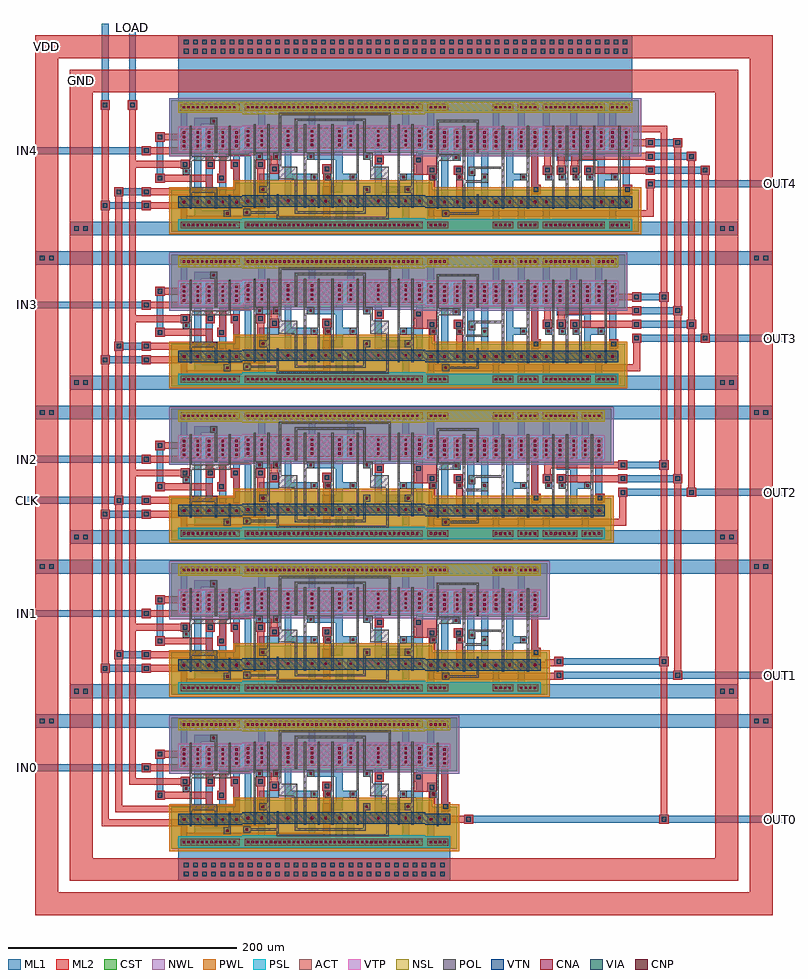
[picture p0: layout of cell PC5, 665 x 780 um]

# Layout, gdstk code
import gdstk
lib = gdstk.Library(unit=1e-6, precision=1e-09)
def R(c, l, rs):  # rectangles x0, y0, x1, y1
    for r in rs: c.add(gdstk.rectangle(r[:2], r[2:], *l))
def A(c, l, x, y, w, h, nx, ny, dx, dy):  # array of equal rectangles
    R(c, l, [(x+i*dx, y+j*dy, x+i*dx+w, y+j*dy+h) for i in range(nx) for j in range(ny)])
NWL = (1, 0)
PWL = (2, 0)
CST = (3, 0)
ACT = (4, 0)
VTN = (5, 0)
VTP = (6, 0)
POL = (7, 0)
NSL = (8, 0)
PSL = (9, 0)
CNA = (10, 0)
CNP = (11, 0)
ML1 = (12, 0)
VIA = (13, 0)
ML2 = (14, 0)

mux2 = lib.new_cell('mux2')
R(mux2, NWL, [(-8,69,64,120)])
R(mux2, PWL, [(-8,1,64,42)])
R(mux2, CST, [(-6,3,62,40), (-6,71,62,118)])
R(mux2, ACT, [(2,6,54,12), (2,26,20,32), (24,26,54,32), (2,75,20,93), (24,75,54,93), (2,109,54,115)])
R(mux2, VTN, [(0,24,56,34)])
R(mux2, VTP, [(0,73,56,95)])
R(mux2, POL, [(40,16,46,22), (44,22,46,24), (10,23,12,96), (32,23,34,34), (44,24,46,35), (32,34,34,37), (12,37,34,42), (4,53,10,59), (12,65,46,69), (44,69,46,73), (32,72,34,95), (44,73,46,96), (32,95,34,97), (28,97,34,103)])
R(mux2, NSL, [(0,24,56,34), (0,107,56,117)])
R(mux2, PSL, [(0,4,56,14), (0,73,56,95)])
A(mux2, CNA, 4, 8, 2, 2, 12, 2, 4, 103)
A(mux2, CNA, 26, 28, 2, 2, 3, 2, 12, 49)
A(mux2, CNA, 4, 77, 2, 2, 1, 4, 0, 4)
A(mux2, CNA, 16, 77, 2, 2, 1, 4, 0, 4)
A(mux2, CNA, 26, 81, 2, 2, 3, 3, 12, 4)
R(mux2, CNA, [(4,28,6,30), (16,28,18,30)])
R(mux2, CNP, [(42,18,44,20), (6,55,8,57), (30,99,32,101)])
A(mux2, ML1, 24, 26, 6, 67, 3, 1, 12, 0)
A(mux2, ML1, 2, 58, 8, 8, 3, 1, 22, 0)
R(mux2, ML1, [(0,0,56,12), (2,12,8,32), (14,16,40,22), (40,16,46,22), (14,22,20,26), (14,26,20,93), (34,46,42,54), (4,53,10,59), (2,75,8,109), (14,93,20,97), (14,97,28,103), (28,97,34,103), (0,109,56,121)])
A(mux2, VIA, 4, 60, 4, 4, 3, 1, 22, 0)
R(mux2, VIA, [(36,48,40,52)])
A(mux2, ML2, 2, 58, 8, 8, 3, 1, 22, 0)
R(mux2, ML2, [(34,46,42,54)])
mux2.add(gdstk.Label('Vdd', (7,116), layer=12, texttype=0))
mux2.add(gdstk.Label('Gnd', (7,2), layer=12, texttype=0))
mux2.add(gdstk.Label('IA', (25,59), layer=12, texttype=0))
mux2.add(gdstk.Label('O', (35,47), layer=12, texttype=0))
mux2.add(gdstk.Label('IB', (47,59), layer=12, texttype=0))
mux2.add(gdstk.Label('S', (3,59), layer=12, texttype=0))

via12 = lib.new_cell('VIA12')
R(via12, ML1, [(-4,-4,4,4)])
R(via12, VIA, [(-2,-2,2,2)])
R(via12, ML2, [(-4,-4,4,4)])

xor2 = lib.new_cell('xor2')
R(xor2, NWL, [(-9,69,59,120), (53,69,81,120), (75,69,108,120)])
R(xor2, PWL, [(-9,1,59,42), (53,1,81,42), (75,1,108,42)])
R(xor2, CST, [(-7,3,57,40), (55,3,79,40), (77,3,106,40), (-7,71,57,118), (55,71,79,118), (77,71,106,118)])
R(xor2, ACT, [(1,6,19,12), (58,6,76,12), (80,6,98,12), (1,26,19,32), (24,26,54,32), (58,26,76,32), (80,26,98,32), (1,75,19,93), (24,75,54,93), (58,75,76,93), (80,75,98,93), (1,109,19,115), (58,109,76,115), (80,109,98,115)])
R(xor2, VTN, [(-1,24,100,34)])
R(xor2, VTP, [(-1,73,100,95)])
R(xor2, POL, [(14,16,20,22), (20,18,45,20), (44,18,46,24), (9,23,11,97), (32,23,34,96), (66,23,68,96), (88,23,90,96), (44,24,46,36), (34,46,54,48), (3,48,9,54), (26,48,32,54), (48,48,54,54), (82,48,88,54), (37,52,43,58), (37,58,67,60), (11,65,23,71), (23,65,29,71), (44,72,46,95), (44,95,46,99), (9,97,11,99), (9,99,46,101)])
R(xor2, NSL, [(-1,24,56,34), (56,24,78,34), (78,24,100,34), (-1,107,56,117), (56,107,78,117), (78,107,100,117)])
R(xor2, PSL, [(-1,4,56,14), (56,4,78,14), (78,4,100,14), (-1,73,56,95), (56,73,78,95), (78,73,100,95)])
A(xor2, CNA, 3, 8, 2, 2, 4, 2, 4, 103)
A(xor2, CNA, 60, 8, 2, 2, 4, 2, 4, 103)
A(xor2, CNA, 82, 8, 2, 2, 4, 2, 4, 103)
A(xor2, CNA, 26, 28, 2, 2, 3, 2, 12, 49)
A(xor2, CNA, 3, 77, 2, 2, 1, 4, 0, 4)
A(xor2, CNA, 15, 77, 2, 2, 1, 4, 0, 4)
A(xor2, CNA, 60, 77, 2, 2, 1, 4, 0, 4)
A(xor2, CNA, 72, 77, 2, 2, 1, 4, 0, 4)
A(xor2, CNA, 82, 77, 2, 2, 1, 4, 0, 4)
A(xor2, CNA, 94, 77, 2, 2, 1, 4, 0, 4)
A(xor2, CNA, 26, 81, 2, 2, 3, 3, 12, 4)
R(xor2, CNA, [(3,28,5,30), (15,28,17,30), (60,28,62,30), (72,28,74,30), (82,28,84,30), (94,28,96,30)])
R(xor2, CNP, [(16,18,18,20), (5,50,7,52), (28,50,30,52), (50,50,52,52), (84,50,86,52), (39,54,41,56), (25,67,27,69)])
A(xor2, ML1, 48, 26, 6, 67, 3, 1, 22, 0)
R(xor2, ML1, [(-1,0,56,12), (56,0,78,12), (78,0,100,12), (1,12,7,32), (58,12,64,32), (80,12,86,32), (13,16,19,26), (14,16,20,22), (13,26,19,93), (19,26,30,32), (36,26,42,93), (92,36,100,44), (3,48,9,54), (26,48,32,54), (48,48,54,54), (76,48,82,54), (82,48,88,54), (37,52,43,58), (1,53,9,61), (24,53,32,61), (23,65,29,71), (24,65,30,93), (1,75,7,109), (58,75,64,109), (80,75,86,109), (-1,109,56,121), (56,109,78,121), (78,109,100,121)])
R(xor2, VIA, [(94,38,98,42), (3,55,7,59), (26,55,30,59)])
R(xor2, ML2, [(92,36,100,44), (1,53,9,61), (24,53,32,61)])
xor2.add(gdstk.Label('IA', (4,53), layer=12, texttype=0))
xor2.add(gdstk.Label('O', (93,51), layer=12, texttype=0))
xor2.add(gdstk.Label('IB', (26,53), layer=12, texttype=0))
xor2.add(gdstk.Label('Gnd', (7,2), layer=12, texttype=0))
xor2.add(gdstk.Label('Vdd', (7,116), layer=12, texttype=0))

and2 = lib.new_cell('and2')
R(and2, NWL, [(-8,69,37,120), (31,69,64,120)])
R(and2, PWL, [(-8,1,37,42), (31,1,64,42)])
R(and2, CST, [(-6,3,35,40), (33,3,62,40), (-6,71,35,118), (33,71,62,118)])
R(and2, ACT, [(2,6,32,12), (36,6,54,12), (2,26,32,32), (36,26,54,32), (2,75,32,93), (36,75,54,93), (2,109,32,115), (36,109,54,115)])
R(and2, VTN, [(0,24,56,34)])
R(and2, VTP, [(0,73,56,95)])
R(and2, POL, [(10,23,12,96), (22,23,24,96), (44,23,46,96), (4,48,10,54), (16,48,22,54), (38,48,44,54)])
R(and2, NSL, [(0,24,34,34), (34,24,56,34), (0,107,34,117), (34,107,56,117)])
R(and2, PSL, [(0,4,34,14), (34,4,56,14), (0,73,34,95), (34,73,56,95)])
A(and2, CNA, 4, 8, 2, 2, 7, 2, 4, 103)
A(and2, CNA, 38, 8, 2, 2, 4, 2, 4, 103)
A(and2, CNA, 4, 77, 2, 2, 3, 4, 12, 4)
A(and2, CNA, 38, 77, 2, 2, 1, 4, 0, 4)
A(and2, CNA, 50, 77, 2, 2, 1, 4, 0, 4)
R(and2, CNA, [(4,28,6,30), (28,28,30,30), (38,28,40,30), (50,28,52,30)])
R(and2, CNP, [(6,50,8,52), (18,50,20,52), (40,50,42,52)])
R(and2, ML1, [(0,0,34,12), (34,0,56,12), (2,12,8,32), (36,12,42,32), (26,26,32,71), (48,26,54,93), (48,36,56,44), (4,48,10,54), (16,48,22,54), (32,48,38,54), (38,48,44,54), (2,53,10,61), (14,53,22,61), (14,65,26,71), (14,71,20,93), (2,75,8,109), (26,75,32,109), (36,75,42,109), (0,109,34,121), (34,109,56,121)])
R(and2, VIA, [(50,38,54,42), (4,55,8,59), (16,55,20,59)])
R(and2, ML2, [(48,36,56,44), (2,53,10,61), (14,53,22,61)])
and2.add(gdstk.Label('Vdd', (7,116), layer=12, texttype=0))
and2.add(gdstk.Label('Vdd', (41,116), layer=12, texttype=0))
and2.add(gdstk.Label('IA', (5,53), layer=12, texttype=0))
and2.add(gdstk.Label('IB', (17,53), layer=12, texttype=0))
and2.add(gdstk.Label('Gnd', (7,2), layer=12, texttype=0))
and2.add(gdstk.Label('O', (49,51), layer=12, texttype=0))

and4 = lib.new_cell('and4')
R(and4, NWL, [(-8,69,61,120), (55,69,88,120)])
R(and4, PWL, [(-8,1,61,42), (55,1,88,42)])
R(and4, CST, [(-6,3,59,40), (57,3,86,40), (-6,71,59,118), (57,71,86,118)])
R(and4, ACT, [(2,6,56,12), (60,6,78,12), (2,26,56,32), (60,26,78,32), (2,75,56,93), (60,75,78,93), (2,109,56,115), (60,109,78,115)])
R(and4, VTN, [(0,24,80,34)])
R(and4, VTP, [(0,73,80,95)])
A(and4, POL, 10, 23, 2, 73, 4, 1, 12, 0)
A(and4, POL, 4, 48, 6, 6, 4, 1, 12, 0)
R(and4, POL, [(68,23,70,96), (62,48,68,54)])
R(and4, NSL, [(0,24,58,34), (58,24,80,34), (0,107,58,117), (58,107,80,117)])
R(and4, PSL, [(0,4,58,14), (58,4,80,14), (0,73,58,95), (58,73,80,95)])
A(and4, CNA, 4, 8, 2, 2, 13, 2, 4, 103)
A(and4, CNA, 62, 8, 2, 2, 4, 2, 4, 103)
A(and4, CNA, 4, 77, 2, 2, 5, 4, 12, 4)
A(and4, CNA, 62, 77, 2, 2, 1, 4, 0, 4)
A(and4, CNA, 74, 77, 2, 2, 1, 4, 0, 4)
R(and4, CNA, [(4,28,6,30), (52,28,54,30), (62,28,64,30), (74,28,76,30)])
A(and4, CNP, 6, 50, 2, 2, 4, 1, 12, 0)
R(and4, CNP, [(64,50,66,52)])
A(and4, ML1, 4, 48, 6, 6, 4, 1, 12, 0)
A(and4, ML1, 2, 53, 8, 8, 4, 1, 12, 0)
A(and4, ML1, 2, 75, 6, 34, 3, 1, 24, 0)
R(and4, ML1, [(0,0,58,12), (58,0,80,12), (2,12,8,32), (60,12,66,32), (50,26,56,71), (72,26,78,93), (72,36,80,44), (56,48,62,54), (62,48,68,54), (14,65,50,71), (14,71,20,93), (38,71,44,93), (60,75,66,109), (0,109,58,121), (58,109,80,121)])
A(and4, VIA, 4, 55, 4, 4, 4, 1, 12, 0)
R(and4, VIA, [(74,38,78,42)])
A(and4, ML2, 2, 53, 8, 8, 4, 1, 12, 0)
R(and4, ML2, [(72,36,80,44)])
and4.add(gdstk.Label('Vdd', (7,116), layer=12, texttype=0))
and4.add(gdstk.Label('O', (73,51), layer=12, texttype=0))
and4.add(gdstk.Label('IC', (29,53), layer=12, texttype=0))
and4.add(gdstk.Label('Gnd', (7,2), layer=12, texttype=0))
and4.add(gdstk.Label('IB', (17,53), layer=12, texttype=0))
and4.add(gdstk.Label('IA', (5,53), layer=12, texttype=0))
and4.add(gdstk.Label('ID', (40,53), layer=12, texttype=0))

dff_r = lib.new_cell('dff_r')
R(dff_r, NWL, [(-8,70,168,120)])
R(dff_r, PWL, [(-8,1,168,48)])
R(dff_r, CST, [(-6,3,166,46), (-6,72,166,118)])
R(dff_r, ACT, [(2,6,158,12), (2,27,88,33), (92,27,158,33), (2,76,88,94), (92,76,158,94), (2,109,158,115)])
R(dff_r, VTN, [(0,25,160,35)])
R(dff_r, VTP, [(0,74,160,96)])
A(dff_r, POL, 54, 24, 2, 73, 3, 1, 12, 0)
R(dff_r, POL, [(30,14,32,21), (32,14,126,16), (126,14,128,25), (1,17,7,23), (7,19,30,21), (46,19,48,49), (48,19,106,21), (106,19,108,25), (30,21,32,36), (10,24,12,97), (22,24,24,97), (100,24,102,97), (136,24,138,97), (148,24,150,97), (106,25,108,37), (126,25,128,49), (15,37,21,43), (21,37,22,43), (106,37,112,43), (142,37,148,43), (60,48,66,54), (72,48,78,54), (94,48,100,54), (138,48,144,54), (32,49,48,60), (112,49,128,60), (32,60,34,105), (112,60,114,72), (12,66,18,72), (27,66,33,72), (55,66,57,72), (57,66,63,72), (106,66,112,72), (106,72,108,96), (46,73,48,102), (128,73,130,107), (106,96,108,102), (48,100,106,102), (32,105,128,107)])
R(dff_r, NSL, [(0,25,160,35), (0,106,160,117)])
R(dff_r, PSL, [(0,4,160,15), (0,74,160,96)])
A(dff_r, CNA, 4, 8, 2, 2, 38, 2, 4, 103)
A(dff_r, CNA, 60, 29, 2, 2, 3, 1, 12, 0)
A(dff_r, CNA, 94, 29, 2, 2, 3, 2, 24, 49)
A(dff_r, CNA, 4, 78, 2, 2, 1, 4, 0, 4)
A(dff_r, CNA, 16, 78, 2, 2, 1, 4, 0, 4)
A(dff_r, CNA, 39, 78, 2, 2, 1, 4, 0, 4)
A(dff_r, CNA, 60, 78, 2, 2, 1, 4, 0, 4)
A(dff_r, CNA, 84, 78, 2, 2, 1, 4, 0, 4)
A(dff_r, CNA, 154, 78, 2, 2, 1, 4, 0, 4)
A(dff_r, CNA, 94, 82, 2, 2, 3, 3, 24, 4)
R(dff_r, CNA, [(4,29,6,31), (16,29,18,31), (39,29,41,31), (154,29,156,31)])
R(dff_r, CNP, [(3,19,5,21), (17,39,19,41), (108,39,110,41), (144,39,146,41), (62,50,64,52), (74,50,76,52), (96,50,98,52), (140,50,142,52), (14,68,16,70), (29,68,31,70), (59,68,61,70), (108,68,110,70)])
R(dff_r, ML1, [(0,0,160,12), (58,6,64,33), (82,6,88,33), (92,6,98,33), (140,6,146,33), (14,12,20,33), (1,17,7,23), (2,17,8,27), (2,27,8,33), (37,27,43,94), (70,27,76,37), (116,27,122,94), (152,27,158,94), (2,33,8,94), (15,37,21,43), (70,37,82,43), (82,37,88,72), (106,37,112,43), (122,37,142,43), (142,37,148,43), (15,43,21,48), (15,48,32,54), (42,48,60,54), (60,48,66,54), (72,48,78,54), (88,48,94,54), (94,48,100,54), (138,48,144,54), (144,48,152,54), (24,54,32,62), (70,54,78,62), (12,58,20,66), (116,62,124,70), (150,62,158,70), (12,66,18,72), (18,66,27,72), (27,66,33,72), (57,66,63,72), (63,66,82,72), (106,66,112,72), (82,72,88,94), (14,76,20,82), (14,76,20,115), (58,76,64,115), (92,76,98,115), (140,76,146,115), (0,109,160,121)])
R(dff_r, VIA, [(26,56,30,60), (72,56,76,60), (14,60,18,64), (118,64,122,68), (152,64,156,68)])
R(dff_r, ML2, [(24,54,32,62), (70,54,78,62), (12,58,20,66), (116,62,124,70), (150,62,158,70)])
dff_r.add(gdstk.Label('R', (71,55), layer=12, texttype=0))
dff_r.add(gdstk.Label('D', (25,55), layer=12, texttype=0))
dff_r.add(gdstk.Label('CK', (13,59), layer=12, texttype=0))
dff_r.add(gdstk.Label('Q', (155,58), layer=12, texttype=0))
dff_r.add(gdstk.Label('QB', (117,58), layer=12, texttype=0))
dff_r.add(gdstk.Label('Vdd', (3,116), layer=12, texttype=0))
dff_r.add(gdstk.Label('Gnd', (3,1), layer=12, texttype=0))

invv1 = lib.new_cell('invv1')
R(invv1, NWL, [(-8,69,30,120)])
R(invv1, PWL, [(-8,1,30,42)])
R(invv1, CST, [(-6,3,28,40), (-6,71,28,118)])
R(invv1, ACT, [(2,6,20,12), (2,26,20,32), (2,75,20,93), (2,109,20,115)])
R(invv1, VTN, [(0,24,22,34)])
R(invv1, VTP, [(0,73,22,95)])
R(invv1, POL, [(10,23,12,96), (4,48,10,54)])
R(invv1, NSL, [(0,24,22,34), (0,107,22,117)])
R(invv1, PSL, [(0,4,22,14), (0,73,22,95)])
A(invv1, CNA, 4, 8, 2, 2, 4, 2, 4, 103)
A(invv1, CNA, 4, 77, 2, 2, 1, 4, 0, 4)
A(invv1, CNA, 16, 77, 2, 2, 1, 4, 0, 4)
R(invv1, CNA, [(4,28,6,30), (16,28,18,30)])
R(invv1, CNP, [(6,50,8,52)])
R(invv1, ML1, [(0,0,22,12), (2,12,8,32), (14,26,20,93), (14,36,22,44), (4,48,10,54), (2,53,10,61), (2,75,8,109), (0,109,22,121)])
R(invv1, VIA, [(16,38,20,42), (4,55,8,59)])
R(invv1, ML2, [(14,36,22,44), (2,53,10,61)])
invv1.add(gdstk.Label('Vdd', (7,116), layer=12, texttype=0))
invv1.add(gdstk.Label('I', (5,53), layer=12, texttype=0))
invv1.add(gdstk.Label('O', (15,51), layer=12, texttype=0))
invv1.add(gdstk.Label('Gnd', (7,2), layer=12, texttype=0))

and3 = lib.new_cell('and3')
R(and3, NWL, [(-8,69,49,120), (43,69,76,120)])
R(and3, PWL, [(-8,1,49,42), (43,1,76,42)])
R(and3, CST, [(-6,3,47,40), (45,3,74,40), (-6,71,47,118), (45,71,74,118)])
R(and3, ACT, [(2,6,44,12), (48,6,66,12), (2,26,44,32), (48,26,66,32), (2,75,44,93), (48,75,66,93), (2,109,44,115), (48,109,66,115)])
R(and3, VTN, [(0,24,68,34)])
R(and3, VTP, [(0,73,68,95)])
A(and3, POL, 10, 23, 2, 73, 3, 1, 12, 0)
A(and3, POL, 4, 48, 6, 6, 3, 1, 12, 0)
R(and3, POL, [(56,23,58,96), (50,48,56,54)])
R(and3, NSL, [(0,24,46,34), (46,24,68,34), (0,107,46,117), (46,107,68,117)])
R(and3, PSL, [(0,4,46,14), (46,4,68,14), (0,73,46,95), (46,73,68,95)])
A(and3, CNA, 4, 8, 2, 2, 10, 2, 4, 103)
A(and3, CNA, 50, 8, 2, 2, 4, 2, 4, 103)
A(and3, CNA, 4, 77, 2, 2, 4, 4, 12, 4)
A(and3, CNA, 50, 77, 2, 2, 1, 4, 0, 4)
A(and3, CNA, 62, 77, 2, 2, 1, 4, 0, 4)
R(and3, CNA, [(4,28,6,30), (40,28,42,30), (50,28,52,30), (62,28,64,30)])
A(and3, CNP, 6, 50, 2, 2, 3, 1, 12, 0)
R(and3, CNP, [(52,50,54,52)])
A(and3, ML1, 4, 48, 6, 6, 3, 1, 12, 0)
A(and3, ML1, 2, 53, 8, 8, 3, 1, 12, 0)
R(and3, ML1, [(0,0,46,12), (46,0,68,12), (2,12,8,32), (48,12,54,32), (38,26,44,71), (60,26,66,93), (60,36,68,44), (44,48,50,54), (50,48,56,54), (14,65,38,71), (14,71,20,93), (38,71,44,93), (2,75,8,109), (26,75,32,109), (48,75,54,109), (0,109,46,121), (46,109,68,121)])
A(and3, VIA, 4, 55, 4, 4, 3, 1, 12, 0)
R(and3, VIA, [(62,38,66,42)])
A(and3, ML2, 2, 53, 8, 8, 3, 1, 12, 0)
R(and3, ML2, [(60,36,68,44)])
and3.add(gdstk.Label('IA', (5,53), layer=12, texttype=0))
and3.add(gdstk.Label('IB', (17,53), layer=12, texttype=0))
and3.add(gdstk.Label('Gnd', (7,2), layer=12, texttype=0))
and3.add(gdstk.Label('IC', (29,53), layer=12, texttype=0))
and3.add(gdstk.Label('O', (61,51), layer=12, texttype=0))
and3.add(gdstk.Label('Vdd', (7,116), layer=12, texttype=0))

pc5 = lib.new_cell('PC5')
A(pc5, ML1, -125, 109, 125, 12, 1, 4, 0, 135)
A(pc5, ML1, -95, 135, 95, 12, 1, 4, 0, 135)
R(pc5, ML1, [(0,-25,238,12), (238,109,520,121), (317,135,490,147), (317,244,520,256), (373,270,490,282), (373,379,520,391), (385,405,490,417), (385,514,520,526), (397,540,490,552), (0,649,397,715)])
A(pc5, ML2, 206, 53, 20, 17, 1, 5, 0, 135)
pc5.add(gdstk.FlexPath([(425,29),(527,29)], 6, ends="extended", simple_path=True, layer=12, datatype=0))  # ML1
pc5.add(gdstk.FlexPath([(437,155),(527,155)], 6, ends="extended", simple_path=True, layer=12, datatype=0))  # ML1
pc5.add(gdstk.FlexPath([(-64,654),(-64,722)], 6, ends="extended", simple_path=True, layer=12, datatype=0))  # ML1
pc5.add(gdstk.FlexPath([(-28,614),(-132,614)], 6, ends="extended", simple_path=True, layer=12, datatype=0))  # ML1
pc5.add(gdstk.FlexPath([(-52,173),(-28,173)], 6, ends="extended", simple_path=True, layer=12, datatype=0))  # ML1
pc5.add(gdstk.FlexPath([(-28,296),(-64,296)], 6, ends="extended", simple_path=True, layer=12, datatype=0))  # ML1
pc5.add(gdstk.FlexPath([(-52,443),(-28,443)], 6, ends="extended", simple_path=True, layer=12, datatype=0))  # ML1
pc5.add(gdstk.FlexPath([(-28,566),(-64,566)], 6, ends="extended", simple_path=True, layer=12, datatype=0))  # ML1
pc5.add(gdstk.FlexPath([(-52,578),(-28,578)], 6, ends="extended", simple_path=True, layer=12, datatype=0))  # ML1
pc5.add(gdstk.FlexPath([(413,609),(449,609)], 6, ends="extended", simple_path=True, layer=12, datatype=0))  # ML1
pc5.add(gdstk.FlexPath([(413,597),(461,597)], 6, ends="extended", simple_path=True, layer=12, datatype=0))  # ML1
pc5.add(gdstk.FlexPath([(401,450),(461,450)], 6, ends="extended", simple_path=True, layer=12, datatype=0))  # ML1
pc5.add(gdstk.FlexPath([(389,315),(449,315)], 6, ends="extended", simple_path=True, layer=12, datatype=0))  # ML1
pc5.add(gdstk.FlexPath([(389,327),(437,327)], 6, ends="extended", simple_path=True, layer=12, datatype=0))  # ML1
pc5.add(gdstk.FlexPath([(389,339),(425,339)], 6, ends="extended", simple_path=True, layer=12, datatype=0))  # ML1
pc5.add(gdstk.FlexPath([(333,155),(437,155)], 6, ends="extended", simple_path=True, layer=12, datatype=0))  # ML1
pc5.add(gdstk.FlexPath([(333,167),(425,167)], 6, ends="extended", simple_path=True, layer=12, datatype=0))  # ML1
pc5.add(gdstk.FlexPath([(254,29),(425,29)], 6, ends="extended", simple_path=True, layer=12, datatype=0))  # ML1
pc5.add(gdstk.FlexPath([(-16,86),(-16,50)], 6, ends="extended", simple_path=True, layer=12, datatype=0))  # ML1
pc5.add(gdstk.FlexPath([(-16,356),(-16,320)], 6, ends="extended", simple_path=True, layer=12, datatype=0))  # ML1
pc5.add(gdstk.FlexPath([(-16,491),(-16,455)], 6, ends="extended", simple_path=True, layer=12, datatype=0))  # ML1
pc5.add(gdstk.FlexPath([(-16,626),(-16,590)], 6, ends="extended", simple_path=True, layer=12, datatype=0))  # ML1
pc5.add(gdstk.FlexPath([(-16,221),(-16,185)], 6, ends="extended", simple_path=True, layer=12, datatype=0))  # ML1
pc5.add(gdstk.FlexPath([(401,486),(425,486)], 6, ends="extended", simple_path=True, layer=12, datatype=0))  # ML1
pc5.add(gdstk.FlexPath([(401,462),(449,462)], 6, ends="extended", simple_path=True, layer=12, datatype=0))  # ML1
pc5.add(gdstk.FlexPath([(401,474),(437,474)], 6, ends="extended", simple_path=True, layer=12, datatype=0))  # ML1
pc5.add(gdstk.FlexPath([(413,621),(437,621)], 6, ends="extended", simple_path=True, layer=12, datatype=0))  # ML1
pc5.add(gdstk.FlexPath([(-28,431),(-64,431)], 6, ends="extended", simple_path=True, layer=12, datatype=0))  # ML1
pc5.add(gdstk.FlexPath([(-52,308),(-28,308)], 6, ends="extended", simple_path=True, layer=12, datatype=0))  # ML1
pc5.add(gdstk.FlexPath([(-28,161),(-64,161)], 6, ends="extended", simple_path=True, layer=12, datatype=0))  # ML1
pc5.add(gdstk.FlexPath([(-52,308),(-132,308)], 6, ends="extended", simple_path=True, layer=12, datatype=0))  # ML1
pc5.add(gdstk.FlexPath([(-28,479),(-132,479)], 6, ends="extended", simple_path=True, layer=12, datatype=0))  # ML1
pc5.add(gdstk.FlexPath([(-28,344),(-132,344)], 6, ends="extended", simple_path=True, layer=12, datatype=0))  # ML1
pc5.add(gdstk.FlexPath([(-28,209),(-132,209)], 6, ends="extended", simple_path=True, layer=12, datatype=0))  # ML1
pc5.add(gdstk.FlexPath([(-28,74),(-132,74)], 6, ends="extended", simple_path=True, layer=12, datatype=0))  # ML1
pc5.add(gdstk.FlexPath([(-40,654),(-40,722)], 6, ends="extended", simple_path=True, layer=12, datatype=0))  # ML1
pc5.add(gdstk.FlexPath([(413,585),(527,585)], 6, ends="extended", simple_path=True, layer=12, datatype=0))  # ML1
pc5.add(gdstk.FlexPath([(461,450),(527,450)], 6, ends="extended", simple_path=True, layer=12, datatype=0))  # ML1
pc5.add(gdstk.FlexPath([(449,315),(527,315)], 6, ends="extended", simple_path=True, layer=12, datatype=0))  # ML1
pc5.add(gdstk.FlexPath([(-64,654),(-64,566)], 6, ends="extended", simple_path=True, layer=14, datatype=0))  # ML2
pc5.add(gdstk.FlexPath([(-85,675),(-85,-15),(480,-15),(480,675),(-65,675)], 20, ends="extended", simple_path=True, layer=14, datatype=0))  # ML2
pc5.add(gdstk.FlexPath([(-52,578),(-52,38)], 6, ends="extended", simple_path=True, layer=14, datatype=0))  # ML2
pc5.add(gdstk.FlexPath([(-20,38),(-52,38)], 6, ends="extended", simple_path=True, layer=14, datatype=0))  # ML2
pc5.add(gdstk.FlexPath([(-20,62),(-40,62)], 6, ends="extended", simple_path=True, layer=14, datatype=0))  # ML2
pc5.add(gdstk.FlexPath([(-20,161),(-28,161)], 6, ends="extended", simple_path=True, layer=14, datatype=0))  # ML2
pc5.add(gdstk.FlexPath([(-20,209),(-28,209)], 6, ends="extended", simple_path=True, layer=14, datatype=0))  # ML2
pc5.add(gdstk.FlexPath([(-20,308),(-28,308)], 6, ends="extended", simple_path=True, layer=14, datatype=0))  # ML2
pc5.add(gdstk.FlexPath([(-20,332),(-40,332)], 6, ends="extended", simple_path=True, layer=14, datatype=0))  # ML2
pc5.add(gdstk.FlexPath([(-20,431),(-28,431)], 6, ends="extended", simple_path=True, layer=14, datatype=0))  # ML2
pc5.add(gdstk.FlexPath([(-20,479),(-28,479)], 6, ends="extended", simple_path=True, layer=14, datatype=0))  # ML2
pc5.add(gdstk.FlexPath([(-20,614),(-28,614)], 6, ends="extended", simple_path=True, layer=14, datatype=0))  # ML2
pc5.add(gdstk.FlexPath([(389,315),(389,289),(335,289)], 6, ends="extended", simple_path=True, layer=14, datatype=0))  # ML2
pc5.add(gdstk.FlexPath([(333,166),(324,166)], 6, ends="extended", simple_path=True, layer=14, datatype=0))  # ML2
pc5.add(gdstk.FlexPath([(389,327),(335,327)], 6, ends="extended", simple_path=True, layer=14, datatype=0))  # ML2
pc5.add(gdstk.FlexPath([(323,462),(323,486),(401,486)], 6, ends="extended", simple_path=True, layer=14, datatype=0))  # ML2
pc5.add(gdstk.FlexPath([(401,474),(335,474),(335,462)], 6, ends="extended", simple_path=True, layer=14, datatype=0))  # ML2
pc5.add(gdstk.FlexPath([(401,462),(347,462)], 6, ends="extended", simple_path=True, layer=14, datatype=0))  # ML2
pc5.add(gdstk.FlexPath([(461,597),(461,450)], 6, ends="extended", simple_path=True, layer=14, datatype=0))  # ML2
pc5.add(gdstk.FlexPath([(413,633),(425,633)], 6, ends="extended", simple_path=True, layer=14, datatype=0))  # ML2
pc5.add(gdstk.FlexPath([(449,609),(449,315)], 6, ends="extended", simple_path=True, layer=14, datatype=0))  # ML2
pc5.add(gdstk.FlexPath([(437,621),(437,155)], 6, ends="extended", simple_path=True, layer=14, datatype=0))  # ML2
pc5.add(gdstk.FlexPath([(413,633),(323,633),(323,597)], 6, ends="extended", simple_path=True, layer=14, datatype=0))  # ML2
pc5.add(gdstk.FlexPath([(413,609),(347,609),(347,597)], 6, ends="extended", simple_path=True, layer=14, datatype=0))  # ML2
pc5.add(gdstk.FlexPath([(222,192),(222,154),(332,154)], 6, ends="extended", simple_path=True, layer=14, datatype=0))  # ML2
pc5.add(gdstk.FlexPath([(130,193),(130,149),(17,149)], 6, ends="extended", simple_path=True, layer=14, datatype=0))  # ML2
pc5.add(gdstk.FlexPath([(27,197),(27,209),(-17,209)], 6, ends="extended", simple_path=True, layer=14, datatype=0))  # ML2
pc5.add(gdstk.FlexPath([(17,149),(5,149),(5,161),(-17,161)], 6, ends="extended", simple_path=True, layer=14, datatype=0))  # ML2
pc5.add(gdstk.FlexPath([(72,197),(72,161),(27,161)], 6, ends="extended", simple_path=True, layer=14, datatype=0))  # ML2
pc5.add(gdstk.FlexPath([(51,197),(51,173),(37,173)], 6, ends="extended", simple_path=True, layer=14, datatype=0))  # ML2
pc5.add(gdstk.FlexPath([(332,569),(392,569),(392,581)], 6, ends="extended", simple_path=True, layer=14, datatype=0))  # ML2
pc5.add(gdstk.FlexPath([(332,434),(380,434),(380,446)], 6, ends="extended", simple_path=True, layer=14, datatype=0))  # ML2
pc5.add(gdstk.FlexPath([(72,602),(72,566),(27,566)], 6, ends="extended", simple_path=True, layer=14, datatype=0))  # ML2
pc5.add(gdstk.FlexPath([(27,602),(27,614),(-17,614)], 6, ends="extended", simple_path=True, layer=14, datatype=0))  # ML2
pc5.add(gdstk.FlexPath([(222,597),(222,559),(332,559)], 6, ends="extended", simple_path=True, layer=14, datatype=0))  # ML2
pc5.add(gdstk.FlexPath([(37,578),(27,578),(27,590),(-17,590)], 6, ends="extended", simple_path=True, layer=14, datatype=0))  # ML2
pc5.add(gdstk.FlexPath([(39,590),(39,613),(84,613),(84,598)], 6, ends="extended", simple_path=True, layer=14, datatype=0))  # ML2
pc5.add(gdstk.FlexPath([(72,467),(72,431),(27,431)], 6, ends="extended", simple_path=True, layer=14, datatype=0))  # ML2
pc5.add(gdstk.FlexPath([(27,467),(27,479),(-17,479)], 6, ends="extended", simple_path=True, layer=14, datatype=0))  # ML2
pc5.add(gdstk.FlexPath([(222,462),(222,424),(332,424)], 6, ends="extended", simple_path=True, layer=14, datatype=0))  # ML2
pc5.add(gdstk.FlexPath([(37,443),(27,443),(27,455),(-17,455)], 6, ends="extended", simple_path=True, layer=14, datatype=0))  # ML2
pc5.add(gdstk.FlexPath([(39,455),(39,478),(84,478),(84,463)], 6, ends="extended", simple_path=True, layer=14, datatype=0))  # ML2
pc5.add(gdstk.FlexPath([(51,332),(51,308),(37,308)], 6, ends="extended", simple_path=True, layer=14, datatype=0))  # ML2
pc5.add(gdstk.FlexPath([(72,332),(72,296),(27,296)], 6, ends="extended", simple_path=True, layer=14, datatype=0))  # ML2
pc5.add(gdstk.FlexPath([(17,284),(5,284),(5,296),(-17,296)], 6, ends="extended", simple_path=True, layer=14, datatype=0))  # ML2
pc5.add(gdstk.FlexPath([(27,332),(27,344),(-17,344)], 6, ends="extended", simple_path=True, layer=14, datatype=0))  # ML2
pc5.add(gdstk.FlexPath([(130,328),(130,284),(17,284)], 6, ends="extended", simple_path=True, layer=14, datatype=0))  # ML2
pc5.add(gdstk.FlexPath([(222,327),(222,289),(332,289)], 6, ends="extended", simple_path=True, layer=14, datatype=0))  # ML2
pc5.add(gdstk.FlexPath([(130,58),(130,14),(17,14)], 6, ends="extended", simple_path=True, layer=14, datatype=0))  # ML2
pc5.add(gdstk.FlexPath([(51,62),(51,38),(37,38)], 6, ends="extended", simple_path=True, layer=14, datatype=0))  # ML2
pc5.add(gdstk.FlexPath([(6,62),(-17,62)], 6, ends="extended", simple_path=True, layer=14, datatype=0))  # ML2
pc5.add(gdstk.FlexPath([(39,50),(39,73),(84,73),(84,58)], 6, ends="extended", simple_path=True, layer=14, datatype=0))  # ML2
pc5.add(gdstk.FlexPath([(27,62),(27,74),(-17,74)], 6, ends="extended", simple_path=True, layer=14, datatype=0))  # ML2
pc5.add(gdstk.FlexPath([(72,62),(72,26),(27,26)], 6, ends="extended", simple_path=True, layer=14, datatype=0))  # ML2
pc5.add(gdstk.FlexPath([(37,38),(27,38),(27,50),(-17,50)], 6, ends="extended", simple_path=True, layer=14, datatype=0))  # ML2
pc5.add(gdstk.FlexPath([(27,26),(17,26),(17,38),(-17,38)], 6, ends="extended", simple_path=True, layer=14, datatype=0))  # ML2
pc5.add(gdstk.FlexPath([(17,14),(5,14),(5,26),(-17,26)], 6, ends="extended", simple_path=True, layer=14, datatype=0))  # ML2
pc5.add(gdstk.FlexPath([(233,40),(233,86),(-17,86)], 6, ends="extended", simple_path=True, layer=14, datatype=0))  # ML2
pc5.add(gdstk.FlexPath([(222,57),(222,29),(252,29)], 6, ends="extended", simple_path=True, layer=14, datatype=0))  # ML2
pc5.add(gdstk.FlexPath([(246,327),(246,299),(332,299)], 6, ends="extended", simple_path=True, layer=14, datatype=0))  # ML2
pc5.add(gdstk.FlexPath([(6,332),(-17,332)], 6, ends="extended", simple_path=True, layer=14, datatype=0))  # ML2
pc5.add(gdstk.FlexPath([(37,308),(27,308),(27,320),(-17,320)], 6, ends="extended", simple_path=True, layer=14, datatype=0))  # ML2
pc5.add(gdstk.FlexPath([(27,296),(17,296),(17,308),(-17,308)], 6, ends="extended", simple_path=True, layer=14, datatype=0))  # ML2
pc5.add(gdstk.FlexPath([(39,320),(39,343),(84,343),(84,328)], 6, ends="extended", simple_path=True, layer=14, datatype=0))  # ML2
pc5.add(gdstk.FlexPath([(-16,356),(312,356),(312,309)], 6, ends="extended", simple_path=True, layer=14, datatype=0))  # ML2
pc5.add(gdstk.FlexPath([(-16,491),(312,491),(312,444)], 6, ends="extended", simple_path=True, layer=14, datatype=0))  # ML2
pc5.add(gdstk.FlexPath([(27,431),(17,431),(17,443),(-17,443)], 6, ends="extended", simple_path=True, layer=14, datatype=0))  # ML2
pc5.add(gdstk.FlexPath([(6,467),(-17,467)], 6, ends="extended", simple_path=True, layer=14, datatype=0))  # ML2
pc5.add(gdstk.FlexPath([(246,462),(246,434),(332,434)], 6, ends="extended", simple_path=True, layer=14, datatype=0))  # ML2
pc5.add(gdstk.FlexPath([(130,463),(130,419),(17,419)], 6, ends="extended", simple_path=True, layer=14, datatype=0))  # ML2
pc5.add(gdstk.FlexPath([(17,419),(5,419),(5,431),(-17,431)], 6, ends="extended", simple_path=True, layer=14, datatype=0))  # ML2
pc5.add(gdstk.FlexPath([(51,467),(51,443),(37,443)], 6, ends="extended", simple_path=True, layer=14, datatype=0))  # ML2
pc5.add(gdstk.FlexPath([(-16,626),(312,626),(312,579)], 6, ends="extended", simple_path=True, layer=14, datatype=0))  # ML2
pc5.add(gdstk.FlexPath([(27,566),(17,566),(17,578),(-17,578)], 6, ends="extended", simple_path=True, layer=14, datatype=0))  # ML2
pc5.add(gdstk.FlexPath([(6,602),(-17,602)], 6, ends="extended", simple_path=True, layer=14, datatype=0))  # ML2
pc5.add(gdstk.FlexPath([(246,597),(246,569),(332,569)], 6, ends="extended", simple_path=True, layer=14, datatype=0))  # ML2
pc5.add(gdstk.FlexPath([(130,598),(130,554),(17,554)], 6, ends="extended", simple_path=True, layer=14, datatype=0))  # ML2
pc5.add(gdstk.FlexPath([(17,554),(5,554),(5,566),(-17,566)], 6, ends="extended", simple_path=True, layer=14, datatype=0))  # ML2
pc5.add(gdstk.FlexPath([(51,602),(51,578),(37,578)], 6, ends="extended", simple_path=True, layer=14, datatype=0))  # ML2
pc5.add(gdstk.FlexPath([(332,299),(368,299),(368,311)], 6, ends="extended", simple_path=True, layer=14, datatype=0))  # ML2
pc5.add(gdstk.FlexPath([(-16,221),(312,221),(312,174)], 6, ends="extended", simple_path=True, layer=14, datatype=0))  # ML2
pc5.add(gdstk.FlexPath([(39,185),(39,208),(84,208),(84,193)], 6, ends="extended", simple_path=True, layer=14, datatype=0))  # ML2
pc5.add(gdstk.FlexPath([(27,161),(17,161),(17,173),(-17,173)], 6, ends="extended", simple_path=True, layer=14, datatype=0))  # ML2
pc5.add(gdstk.FlexPath([(37,173),(27,173),(27,185),(-17,185)], 6, ends="extended", simple_path=True, layer=14, datatype=0))  # ML2
pc5.add(gdstk.FlexPath([(6,197),(-17,197)], 6, ends="extended", simple_path=True, layer=14, datatype=0))  # ML2
pc5.add(gdstk.FlexPath([(246,192),(246,164),(314,164)], 6, ends="extended", simple_path=True, layer=14, datatype=0))  # ML2
pc5.add(gdstk.FlexPath([(359,597),(412,597)], 6, ends="extended", simple_path=True, layer=14, datatype=0))  # ML2
pc5.add(gdstk.FlexPath([(335,597),(335,621),(413,621)], 6, ends="extended", simple_path=True, layer=14, datatype=0))  # ML2
pc5.add(gdstk.FlexPath([(425,633),(425,29)], 6, ends="extended", simple_path=True, layer=14, datatype=0))  # ML2
pc5.add(gdstk.FlexPath([(332,559),(413,559),(413,585)], 6, ends="extended", simple_path=True, layer=14, datatype=0))  # ML2
pc5.add(gdstk.FlexPath([(332,424),(401,424),(401,450)], 6, ends="extended", simple_path=True, layer=14, datatype=0))  # ML2
pc5.add(gdstk.FlexPath([(314,164),(322,164)], 6, ends="extended", simple_path=True, layer=14, datatype=0))  # ML2
pc5.add(gdstk.FlexPath([(389,339),(323,339),(323,327)], 6, ends="extended", simple_path=True, layer=14, datatype=0))  # ML2
pc5.add(gdstk.FlexPath([(-20,578),(-28,578)], 6, ends="extended", simple_path=True, layer=14, datatype=0))  # ML2
pc5.add(gdstk.FlexPath([(-20,566),(-28,566)], 6, ends="extended", simple_path=True, layer=14, datatype=0))  # ML2
pc5.add(gdstk.FlexPath([(-20,467),(-40,467)], 6, ends="extended", simple_path=True, layer=14, datatype=0))  # ML2
pc5.add(gdstk.FlexPath([(-20,443),(-28,443)], 6, ends="extended", simple_path=True, layer=14, datatype=0))  # ML2
pc5.add(gdstk.FlexPath([(-20,344),(-28,344)], 6, ends="extended", simple_path=True, layer=14, datatype=0))  # ML2
pc5.add(gdstk.FlexPath([(-20,296),(-28,296)], 6, ends="extended", simple_path=True, layer=14, datatype=0))  # ML2
pc5.add(gdstk.FlexPath([(-20,197),(-40,197)], 6, ends="extended", simple_path=True, layer=14, datatype=0))  # ML2
pc5.add(gdstk.FlexPath([(-20,173),(-28,173)], 6, ends="extended", simple_path=True, layer=14, datatype=0))  # ML2
pc5.add(gdstk.FlexPath([(-20,74),(-28,74)], 6, ends="extended", simple_path=True, layer=14, datatype=0))  # ML2
pc5.add(gdstk.FlexPath([(-20,26),(-64,26)], 6, ends="extended", simple_path=True, layer=14, datatype=0))  # ML2
pc5.add(gdstk.FlexPath([(-64,566),(-64,26)], 6, ends="extended", simple_path=True, layer=14, datatype=0))  # ML2
pc5.add(gdstk.FlexPath([(-40,602),(-40,62)], 6, ends="extended", simple_path=True, layer=14, datatype=0))  # ML2
pc5.add(gdstk.FlexPath([(-17,602),(-40,602)], 6, ends="extended", simple_path=True, layer=14, datatype=0))  # ML2
pc5.add(gdstk.FlexPath([(-115,705),(510,705),(510,-45),(-115,-45),(-115,685)], 20, ends="extended", simple_path=True, layer=14, datatype=0))  # ML2
pc5.add(gdstk.FlexPath([(-40,578),(-40,654)], 6, ends="extended", simple_path=True, layer=14, datatype=0))  # ML2
pc5.add(gdstk.Reference(mux2, (0,540)))
pc5.add(gdstk.Reference(mux2, (0,405)))
pc5.add(gdstk.Reference(mux2, (0,270)))
pc5.add(gdstk.Reference(mux2, (0,135)))
pc5.add(gdstk.Reference(mux2, (0,0)))
r = gdstk.Reference(via12, (-89,546)); r.repetition = gdstk.Repetition(2, 1, v1=(8,0), v2=(0,0)); pc5.add(r)
r = gdstk.Reference(via12, (-89,411)); r.repetition = gdstk.Repetition(2, 1, v1=(8,0), v2=(0,0)); pc5.add(r)
r = gdstk.Reference(via12, (-89,276)); r.repetition = gdstk.Repetition(2, 1, v1=(8,0), v2=(0,0)); pc5.add(r)
r = gdstk.Reference(via12, (-89,141)); r.repetition = gdstk.Repetition(2, 1, v1=(8,0), v2=(0,0)); pc5.add(r)
r = gdstk.Reference(via12, (476,141)); r.repetition = gdstk.Repetition(2, 1, v1=(8,0), v2=(0,0)); pc5.add(r)
r = gdstk.Reference(via12, (476,276)); r.repetition = gdstk.Repetition(2, 1, v1=(8,0), v2=(0,0)); pc5.add(r)
r = gdstk.Reference(via12, (476,411)); r.repetition = gdstk.Repetition(2, 1, v1=(8,0), v2=(0,0)); pc5.add(r)
r = gdstk.Reference(via12, (7,701)); r.repetition = gdstk.Repetition(49, 2, v1=(8,0), v2=(0,8)); pc5.add(r)
pc5.add(gdstk.Reference(via12, (-40,654)))
pc5.add(gdstk.Reference(via12, (-64,161)))
pc5.add(gdstk.Reference(via12, (-52,308)))
pc5.add(gdstk.Reference(via12, (-52,443)))
pc5.add(gdstk.Reference(via12, (-64,566)))
pc5.add(gdstk.Reference(via12, (-28,209)))
pc5.add(gdstk.Reference(via12, (-28,161)))
pc5.add(gdstk.Reference(via12, (-28,308)))
pc5.add(gdstk.Reference(via12, (-28,479)))
pc5.add(gdstk.Reference(via12, (-28,431)))
pc5.add(gdstk.Reference(via12, (-28,578)))
pc5.add(gdstk.Reference(via12, (-28,614)))
pc5.add(gdstk.Reference(via12, (437,155)))
pc5.add(gdstk.Reference(via12, (449,315)))
pc5.add(gdstk.Reference(via12, (425,339)))
pc5.add(gdstk.Reference(via12, (254,29)))
pc5.add(gdstk.Reference(via12, (389,315)))
pc5.add(gdstk.Reference(via12, (389,327)))
pc5.add(gdstk.Reference(via12, (449,462)))
pc5.add(gdstk.Reference(via12, (425,486)))
pc5.add(gdstk.Reference(via12, (401,450)))
pc5.add(gdstk.Reference(via12, (401,474)))
pc5.add(gdstk.Reference(via12, (401,462)))
pc5.add(gdstk.Reference(via12, (437,621)))
pc5.add(gdstk.Reference(via12, (413,621)))
pc5.add(gdstk.Reference(via12, (413,597)))
pc5.add(gdstk.Reference(xor2, (217,135)))
pc5.add(gdstk.Reference(via12, (-16,626)))
pc5.add(gdstk.Reference(via12, (-16,455)))
pc5.add(gdstk.Reference(via12, (-16,320)))
pc5.add(gdstk.Reference(via12, (-16,221), x_reflection=True))
pc5.add(gdstk.Reference(via12, (-16,50)))
pc5.add(gdstk.Reference(via12, (-16,86)))
pc5.add(gdstk.Reference(and2, (317,270)))
pc5.add(gdstk.Reference(and4, (317,540)))
pc5.add(gdstk.Reference(xor2, (217,270)))
pc5.add(gdstk.Reference(dff_r, (56,270)))
pc5.add(gdstk.Reference(dff_r, (56,0)))
pc5.add(gdstk.Reference(invv1, (216,0)))
pc5.add(gdstk.Reference(xor2, (217,540)))
pc5.add(gdstk.Reference(dff_r, (56,540)))
pc5.add(gdstk.Reference(dff_r, (56,405)))
pc5.add(gdstk.Reference(xor2, (217,405)))
pc5.add(gdstk.Reference(and3, (317,405)))
pc5.add(gdstk.Reference(via12, (-16,185), x_reflection=True))
pc5.add(gdstk.Reference(via12, (-16,356)))
pc5.add(gdstk.Reference(via12, (-16,491)))
pc5.add(gdstk.Reference(via12, (-16,590)))
pc5.add(gdstk.Reference(dff_r, (56,135)))
pc5.add(gdstk.Reference(via12, (413,609)))
pc5.add(gdstk.Reference(via12, (413,585)))
pc5.add(gdstk.Reference(via12, (449,609)))
pc5.add(gdstk.Reference(via12, (461,597)))
pc5.add(gdstk.Reference(via12, (401,486)))
pc5.add(gdstk.Reference(via12, (437,474)))
pc5.add(gdstk.Reference(via12, (461,450)))
pc5.add(gdstk.Reference(via12, (389,339)))
pc5.add(gdstk.Reference(via12, (333,155)))
pc5.add(gdstk.Reference(via12, (333,167)))
pc5.add(gdstk.Reference(via12, (437,327)))
pc5.add(gdstk.Reference(via12, (425,167)))
pc5.add(gdstk.Reference(via12, (425,29)))
pc5.add(gdstk.Reference(via12, (-28,566)))
pc5.add(gdstk.Reference(via12, (-28,443)))
pc5.add(gdstk.Reference(via12, (-28,296)))
pc5.add(gdstk.Reference(via12, (-28,344)))
pc5.add(gdstk.Reference(via12, (-28,173)))
pc5.add(gdstk.Reference(via12, (-28,74)))
pc5.add(gdstk.Reference(via12, (-52,578)))
pc5.add(gdstk.Reference(via12, (-64,431)))
pc5.add(gdstk.Reference(via12, (-64,296)))
pc5.add(gdstk.Reference(via12, (-52,173)))
pc5.add(gdstk.Reference(via12, (-64,654)))
r = gdstk.Reference(via12, (7,-19)); r.repetition = gdstk.Repetition(29, 2, v1=(8,0), v2=(0,8)); pc5.add(r)
r = gdstk.Reference(via12, (476,546)); r.repetition = gdstk.Repetition(2, 1, v1=(8,0), v2=(0,0)); pc5.add(r)
r = gdstk.Reference(via12, (506,520)); r.repetition = gdstk.Repetition(2, 1, v1=(8,0), v2=(0,0)); pc5.add(r)
r = gdstk.Reference(via12, (506,385)); r.repetition = gdstk.Repetition(2, 1, v1=(8,0), v2=(0,0)); pc5.add(r)
r = gdstk.Reference(via12, (506,250)); r.repetition = gdstk.Repetition(2, 1, v1=(8,0), v2=(0,0)); pc5.add(r)
r = gdstk.Reference(via12, (506,115)); r.repetition = gdstk.Repetition(2, 1, v1=(8,0), v2=(0,0)); pc5.add(r)
r = gdstk.Reference(via12, (-119,115)); r.repetition = gdstk.Repetition(2, 1, v1=(8,0), v2=(0,0)); pc5.add(r)
r = gdstk.Reference(via12, (-119,250)); r.repetition = gdstk.Repetition(2, 1, v1=(8,0), v2=(0,0)); pc5.add(r)
r = gdstk.Reference(via12, (-119,385)); r.repetition = gdstk.Repetition(2, 1, v1=(8,0), v2=(0,0)); pc5.add(r)
r = gdstk.Reference(via12, (-119,520)); r.repetition = gdstk.Repetition(2, 1, v1=(8,0), v2=(0,0)); pc5.add(r)
pc5.add(gdstk.Label('OUT1', (527,155), layer=12, texttype=0))
pc5.add(gdstk.Label('OUT3', (527,450), layer=12, texttype=0))
pc5.add(gdstk.Label('LOAD', (-40,722), layer=12, texttype=0))
pc5.add(gdstk.Label('CLK', (-132,308), layer=12, texttype=0))
pc5.add(gdstk.Label('IN1', (-132,209), layer=12, texttype=0))
pc5.add(gdstk.Label('IN3', (-132,479), layer=12, texttype=0))
pc5.add(gdstk.Label('IN4', (-132,614), layer=12, texttype=0))
pc5.add(gdstk.Label('IN2', (-132,344), layer=12, texttype=0))
pc5.add(gdstk.Label('IN0', (-132,74), layer=12, texttype=0))
pc5.add(gdstk.Label('RST', (-64,722), layer=12, texttype=0))
pc5.add(gdstk.Label('OUT4', (527,585), layer=12, texttype=0))
pc5.add(gdstk.Label('OUT2', (527,315), layer=12, texttype=0))
pc5.add(gdstk.Label('OUT0', (527,29), layer=12, texttype=0))
pc5.add(gdstk.Label('VDD', (-115,705), layer=14, texttype=0))
pc5.add(gdstk.Label('GND', (-85,675), layer=14, texttype=0))

lib.write_gds('PC5.gds')
